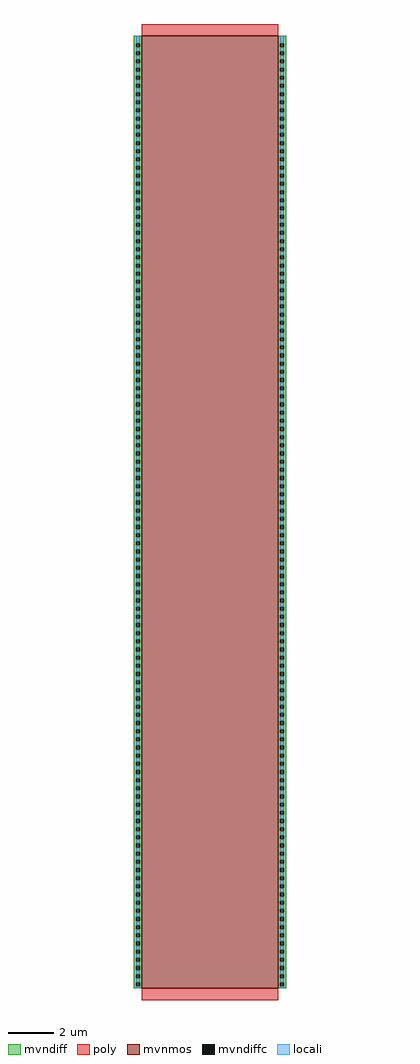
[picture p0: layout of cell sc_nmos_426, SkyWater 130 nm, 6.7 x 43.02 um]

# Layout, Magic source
magic
tech sky130A
<< mvnmos >>
rect 225 601 825 4801
<< mvndiff >>
rect 190 4768 225 4801
rect 190 4750 199 4768
rect 216 4750 225 4768
rect 190 4732 225 4750
rect 190 4714 199 4732
rect 216 4714 225 4732
rect 190 4696 225 4714
rect 190 4678 199 4696
rect 216 4678 225 4696
rect 190 4660 225 4678
rect 190 4642 199 4660
rect 216 4642 225 4660
rect 190 4624 225 4642
rect 190 4606 199 4624
rect 216 4606 225 4624
rect 190 4588 225 4606
rect 190 4570 199 4588
rect 216 4570 225 4588
rect 190 4552 225 4570
rect 190 4534 199 4552
rect 216 4534 225 4552
rect 190 4516 225 4534
rect 190 4498 199 4516
rect 216 4498 225 4516
rect 190 4480 225 4498
rect 190 4462 199 4480
rect 216 4462 225 4480
rect 190 4444 225 4462
rect 190 4426 199 4444
rect 216 4426 225 4444
rect 190 4408 225 4426
rect 190 4390 199 4408
rect 216 4390 225 4408
rect 190 4372 225 4390
rect 190 4354 199 4372
rect 216 4354 225 4372
rect 190 4336 225 4354
rect 190 4318 199 4336
rect 216 4318 225 4336
rect 190 4300 225 4318
rect 190 4282 199 4300
rect 216 4282 225 4300
rect 190 4264 225 4282
rect 190 4246 199 4264
rect 216 4246 225 4264
rect 190 4228 225 4246
rect 190 4210 199 4228
rect 216 4210 225 4228
rect 190 4192 225 4210
rect 190 4174 199 4192
rect 216 4174 225 4192
rect 190 4156 225 4174
rect 190 4138 199 4156
rect 216 4138 225 4156
rect 190 4120 225 4138
rect 190 4102 199 4120
rect 216 4102 225 4120
rect 190 4084 225 4102
rect 190 4066 199 4084
rect 216 4066 225 4084
rect 190 4048 225 4066
rect 190 4030 199 4048
rect 216 4030 225 4048
rect 190 4012 225 4030
rect 190 3994 199 4012
rect 216 3994 225 4012
rect 190 3976 225 3994
rect 190 3958 199 3976
rect 216 3958 225 3976
rect 190 3940 225 3958
rect 190 3922 199 3940
rect 216 3922 225 3940
rect 190 3904 225 3922
rect 190 3886 199 3904
rect 216 3886 225 3904
rect 190 3868 225 3886
rect 190 3850 199 3868
rect 216 3850 225 3868
rect 190 3832 225 3850
rect 190 3814 199 3832
rect 216 3814 225 3832
rect 190 3796 225 3814
rect 190 3778 199 3796
rect 216 3778 225 3796
rect 190 3760 225 3778
rect 190 3742 199 3760
rect 216 3742 225 3760
rect 190 3724 225 3742
rect 190 3706 199 3724
rect 216 3706 225 3724
rect 190 3688 225 3706
rect 190 3670 199 3688
rect 216 3670 225 3688
rect 190 3652 225 3670
rect 190 3634 199 3652
rect 216 3634 225 3652
rect 190 3616 225 3634
rect 190 3598 199 3616
rect 216 3598 225 3616
rect 190 3580 225 3598
rect 190 3562 199 3580
rect 216 3562 225 3580
rect 190 3544 225 3562
rect 190 3526 199 3544
rect 216 3526 225 3544
rect 190 3508 225 3526
rect 190 3490 199 3508
rect 216 3490 225 3508
rect 190 3472 225 3490
rect 190 3454 199 3472
rect 216 3454 225 3472
rect 190 3436 225 3454
rect 190 3418 199 3436
rect 216 3418 225 3436
rect 190 3400 225 3418
rect 190 3382 199 3400
rect 216 3382 225 3400
rect 190 3364 225 3382
rect 190 3346 199 3364
rect 216 3346 225 3364
rect 190 3328 225 3346
rect 190 3310 199 3328
rect 216 3310 225 3328
rect 190 3292 225 3310
rect 190 3274 199 3292
rect 216 3274 225 3292
rect 190 3256 225 3274
rect 190 3238 199 3256
rect 216 3238 225 3256
rect 190 3220 225 3238
rect 190 3202 199 3220
rect 216 3202 225 3220
rect 190 3184 225 3202
rect 190 3166 199 3184
rect 216 3166 225 3184
rect 190 3148 225 3166
rect 190 3130 199 3148
rect 216 3130 225 3148
rect 190 3112 225 3130
rect 190 3094 199 3112
rect 216 3094 225 3112
rect 190 3076 225 3094
rect 190 3058 199 3076
rect 216 3058 225 3076
rect 190 3040 225 3058
rect 190 3022 199 3040
rect 216 3022 225 3040
rect 190 3004 225 3022
rect 190 2986 199 3004
rect 216 2986 225 3004
rect 190 2968 225 2986
rect 190 2950 199 2968
rect 216 2950 225 2968
rect 190 2932 225 2950
rect 190 2914 199 2932
rect 216 2914 225 2932
rect 190 2896 225 2914
rect 190 2878 199 2896
rect 216 2878 225 2896
rect 190 2860 225 2878
rect 190 2842 199 2860
rect 216 2842 225 2860
rect 190 2824 225 2842
rect 190 2806 199 2824
rect 216 2806 225 2824
rect 190 2788 225 2806
rect 190 2770 199 2788
rect 216 2770 225 2788
rect 190 2752 225 2770
rect 190 2734 199 2752
rect 216 2734 225 2752
rect 190 2716 225 2734
rect 190 2698 199 2716
rect 216 2698 225 2716
rect 190 2680 225 2698
rect 190 2662 199 2680
rect 216 2662 225 2680
rect 190 2644 225 2662
rect 190 2626 199 2644
rect 216 2626 225 2644
rect 190 2608 225 2626
rect 190 2590 199 2608
rect 216 2590 225 2608
rect 190 2572 225 2590
rect 190 2554 199 2572
rect 216 2554 225 2572
rect 190 2536 225 2554
rect 190 2518 199 2536
rect 216 2518 225 2536
rect 190 2500 225 2518
rect 190 2482 199 2500
rect 216 2482 225 2500
rect 190 2464 225 2482
rect 190 2446 199 2464
rect 216 2446 225 2464
rect 190 2428 225 2446
rect 190 2410 199 2428
rect 216 2410 225 2428
rect 190 2392 225 2410
rect 190 2374 199 2392
rect 216 2374 225 2392
rect 190 2356 225 2374
rect 190 2338 199 2356
rect 216 2338 225 2356
rect 190 2320 225 2338
rect 190 2302 199 2320
rect 216 2302 225 2320
rect 190 2284 225 2302
rect 190 2266 199 2284
rect 216 2266 225 2284
rect 190 2248 225 2266
rect 190 2230 199 2248
rect 216 2230 225 2248
rect 190 2212 225 2230
rect 190 2194 199 2212
rect 216 2194 225 2212
rect 190 2176 225 2194
rect 190 2158 199 2176
rect 216 2158 225 2176
rect 190 2140 225 2158
rect 190 2122 199 2140
rect 216 2122 225 2140
rect 190 2104 225 2122
rect 190 2086 199 2104
rect 216 2086 225 2104
rect 190 2068 225 2086
rect 190 2050 199 2068
rect 216 2050 225 2068
rect 190 2032 225 2050
rect 190 2014 199 2032
rect 216 2014 225 2032
rect 190 1996 225 2014
rect 190 1978 199 1996
rect 216 1978 225 1996
rect 190 1960 225 1978
rect 190 1942 199 1960
rect 216 1942 225 1960
rect 190 1924 225 1942
rect 190 1906 199 1924
rect 216 1906 225 1924
rect 190 1888 225 1906
rect 190 1870 199 1888
rect 216 1870 225 1888
rect 190 1852 225 1870
rect 190 1834 199 1852
rect 216 1834 225 1852
rect 190 1816 225 1834
rect 190 1798 199 1816
rect 216 1798 225 1816
rect 190 1780 225 1798
rect 190 1762 199 1780
rect 216 1762 225 1780
rect 190 1744 225 1762
rect 190 1726 199 1744
rect 216 1726 225 1744
rect 190 1708 225 1726
rect 190 1690 199 1708
rect 216 1690 225 1708
rect 190 1672 225 1690
rect 190 1654 199 1672
rect 216 1654 225 1672
rect 190 1636 225 1654
rect 190 1618 199 1636
rect 216 1618 225 1636
rect 190 1600 225 1618
rect 190 1582 199 1600
rect 216 1582 225 1600
rect 190 1564 225 1582
rect 190 1546 199 1564
rect 216 1546 225 1564
rect 190 1528 225 1546
rect 190 1510 199 1528
rect 216 1510 225 1528
rect 190 1492 225 1510
rect 190 1474 199 1492
rect 216 1474 225 1492
rect 190 1456 225 1474
rect 190 1438 199 1456
rect 216 1438 225 1456
rect 190 1420 225 1438
rect 190 1402 199 1420
rect 216 1402 225 1420
rect 190 1384 225 1402
rect 190 1366 199 1384
rect 216 1366 225 1384
rect 190 1348 225 1366
rect 190 1330 199 1348
rect 216 1330 225 1348
rect 190 1312 225 1330
rect 190 1294 199 1312
rect 216 1294 225 1312
rect 190 1276 225 1294
rect 190 1258 199 1276
rect 216 1258 225 1276
rect 190 1240 225 1258
rect 190 1222 199 1240
rect 216 1222 225 1240
rect 190 1204 225 1222
rect 190 1186 199 1204
rect 216 1186 225 1204
rect 190 1168 225 1186
rect 190 1150 199 1168
rect 216 1150 225 1168
rect 190 1132 225 1150
rect 190 1114 199 1132
rect 216 1114 225 1132
rect 190 1096 225 1114
rect 190 1078 199 1096
rect 216 1078 225 1096
rect 190 1060 225 1078
rect 190 1042 199 1060
rect 216 1042 225 1060
rect 190 1024 225 1042
rect 190 1006 199 1024
rect 216 1006 225 1024
rect 190 988 225 1006
rect 190 970 199 988
rect 216 970 225 988
rect 190 952 225 970
rect 190 934 199 952
rect 216 934 225 952
rect 190 916 225 934
rect 190 898 199 916
rect 216 898 225 916
rect 190 880 225 898
rect 190 862 199 880
rect 216 862 225 880
rect 190 844 225 862
rect 190 826 199 844
rect 216 826 225 844
rect 190 808 225 826
rect 190 790 199 808
rect 216 790 225 808
rect 190 772 225 790
rect 190 754 199 772
rect 216 754 225 772
rect 190 736 225 754
rect 190 718 199 736
rect 216 718 225 736
rect 190 700 225 718
rect 190 682 199 700
rect 216 682 225 700
rect 190 664 225 682
rect 190 646 199 664
rect 216 646 225 664
rect 190 628 225 646
rect 190 610 199 628
rect 216 610 225 628
rect 190 601 225 610
rect 825 4768 860 4801
rect 825 4750 834 4768
rect 851 4750 860 4768
rect 825 4732 860 4750
rect 825 4714 834 4732
rect 851 4714 860 4732
rect 825 4696 860 4714
rect 825 4678 834 4696
rect 851 4678 860 4696
rect 825 4660 860 4678
rect 825 4642 834 4660
rect 851 4642 860 4660
rect 825 4624 860 4642
rect 825 4606 834 4624
rect 851 4606 860 4624
rect 825 4588 860 4606
rect 825 4570 834 4588
rect 851 4570 860 4588
rect 825 4552 860 4570
rect 825 4534 834 4552
rect 851 4534 860 4552
rect 825 4516 860 4534
rect 825 4498 834 4516
rect 851 4498 860 4516
rect 825 4480 860 4498
rect 825 4462 834 4480
rect 851 4462 860 4480
rect 825 4444 860 4462
rect 825 4426 834 4444
rect 851 4426 860 4444
rect 825 4408 860 4426
rect 825 4390 834 4408
rect 851 4390 860 4408
rect 825 4372 860 4390
rect 825 4354 834 4372
rect 851 4354 860 4372
rect 825 4336 860 4354
rect 825 4318 834 4336
rect 851 4318 860 4336
rect 825 4300 860 4318
rect 825 4282 834 4300
rect 851 4282 860 4300
rect 825 4264 860 4282
rect 825 4246 834 4264
rect 851 4246 860 4264
rect 825 4228 860 4246
rect 825 4210 834 4228
rect 851 4210 860 4228
rect 825 4192 860 4210
rect 825 4174 834 4192
rect 851 4174 860 4192
rect 825 4156 860 4174
rect 825 4138 834 4156
rect 851 4138 860 4156
rect 825 4120 860 4138
rect 825 4102 834 4120
rect 851 4102 860 4120
rect 825 4084 860 4102
rect 825 4066 834 4084
rect 851 4066 860 4084
rect 825 4048 860 4066
rect 825 4030 834 4048
rect 851 4030 860 4048
rect 825 4012 860 4030
rect 825 3994 834 4012
rect 851 3994 860 4012
rect 825 3976 860 3994
rect 825 3958 834 3976
rect 851 3958 860 3976
rect 825 3940 860 3958
rect 825 3922 834 3940
rect 851 3922 860 3940
rect 825 3904 860 3922
rect 825 3886 834 3904
rect 851 3886 860 3904
rect 825 3868 860 3886
rect 825 3850 834 3868
rect 851 3850 860 3868
rect 825 3832 860 3850
rect 825 3814 834 3832
rect 851 3814 860 3832
rect 825 3796 860 3814
rect 825 3778 834 3796
rect 851 3778 860 3796
rect 825 3760 860 3778
rect 825 3742 834 3760
rect 851 3742 860 3760
rect 825 3724 860 3742
rect 825 3706 834 3724
rect 851 3706 860 3724
rect 825 3688 860 3706
rect 825 3670 834 3688
rect 851 3670 860 3688
rect 825 3652 860 3670
rect 825 3634 834 3652
rect 851 3634 860 3652
rect 825 3616 860 3634
rect 825 3598 834 3616
rect 851 3598 860 3616
rect 825 3580 860 3598
rect 825 3562 834 3580
rect 851 3562 860 3580
rect 825 3544 860 3562
rect 825 3526 834 3544
rect 851 3526 860 3544
rect 825 3508 860 3526
rect 825 3490 834 3508
rect 851 3490 860 3508
rect 825 3472 860 3490
rect 825 3454 834 3472
rect 851 3454 860 3472
rect 825 3436 860 3454
rect 825 3418 834 3436
rect 851 3418 860 3436
rect 825 3400 860 3418
rect 825 3382 834 3400
rect 851 3382 860 3400
rect 825 3364 860 3382
rect 825 3346 834 3364
rect 851 3346 860 3364
rect 825 3328 860 3346
rect 825 3310 834 3328
rect 851 3310 860 3328
rect 825 3292 860 3310
rect 825 3274 834 3292
rect 851 3274 860 3292
rect 825 3256 860 3274
rect 825 3238 834 3256
rect 851 3238 860 3256
rect 825 3220 860 3238
rect 825 3202 834 3220
rect 851 3202 860 3220
rect 825 3184 860 3202
rect 825 3166 834 3184
rect 851 3166 860 3184
rect 825 3148 860 3166
rect 825 3130 834 3148
rect 851 3130 860 3148
rect 825 3112 860 3130
rect 825 3094 834 3112
rect 851 3094 860 3112
rect 825 3076 860 3094
rect 825 3058 834 3076
rect 851 3058 860 3076
rect 825 3040 860 3058
rect 825 3022 834 3040
rect 851 3022 860 3040
rect 825 3004 860 3022
rect 825 2986 834 3004
rect 851 2986 860 3004
rect 825 2968 860 2986
rect 825 2950 834 2968
rect 851 2950 860 2968
rect 825 2932 860 2950
rect 825 2914 834 2932
rect 851 2914 860 2932
rect 825 2896 860 2914
rect 825 2878 834 2896
rect 851 2878 860 2896
rect 825 2860 860 2878
rect 825 2842 834 2860
rect 851 2842 860 2860
rect 825 2824 860 2842
rect 825 2806 834 2824
rect 851 2806 860 2824
rect 825 2788 860 2806
rect 825 2770 834 2788
rect 851 2770 860 2788
rect 825 2752 860 2770
rect 825 2734 834 2752
rect 851 2734 860 2752
rect 825 2716 860 2734
rect 825 2698 834 2716
rect 851 2698 860 2716
rect 825 2680 860 2698
rect 825 2662 834 2680
rect 851 2662 860 2680
rect 825 2644 860 2662
rect 825 2626 834 2644
rect 851 2626 860 2644
rect 825 2608 860 2626
rect 825 2590 834 2608
rect 851 2590 860 2608
rect 825 2572 860 2590
rect 825 2554 834 2572
rect 851 2554 860 2572
rect 825 2536 860 2554
rect 825 2518 834 2536
rect 851 2518 860 2536
rect 825 2500 860 2518
rect 825 2482 834 2500
rect 851 2482 860 2500
rect 825 2464 860 2482
rect 825 2446 834 2464
rect 851 2446 860 2464
rect 825 2428 860 2446
rect 825 2410 834 2428
rect 851 2410 860 2428
rect 825 2392 860 2410
rect 825 2374 834 2392
rect 851 2374 860 2392
rect 825 2356 860 2374
rect 825 2338 834 2356
rect 851 2338 860 2356
rect 825 2320 860 2338
rect 825 2302 834 2320
rect 851 2302 860 2320
rect 825 2284 860 2302
rect 825 2266 834 2284
rect 851 2266 860 2284
rect 825 2248 860 2266
rect 825 2230 834 2248
rect 851 2230 860 2248
rect 825 2212 860 2230
rect 825 2194 834 2212
rect 851 2194 860 2212
rect 825 2176 860 2194
rect 825 2158 834 2176
rect 851 2158 860 2176
rect 825 2140 860 2158
rect 825 2122 834 2140
rect 851 2122 860 2140
rect 825 2104 860 2122
rect 825 2086 834 2104
rect 851 2086 860 2104
rect 825 2068 860 2086
rect 825 2050 834 2068
rect 851 2050 860 2068
rect 825 2032 860 2050
rect 825 2014 834 2032
rect 851 2014 860 2032
rect 825 1996 860 2014
rect 825 1978 834 1996
rect 851 1978 860 1996
rect 825 1960 860 1978
rect 825 1942 834 1960
rect 851 1942 860 1960
rect 825 1924 860 1942
rect 825 1906 834 1924
rect 851 1906 860 1924
rect 825 1888 860 1906
rect 825 1870 834 1888
rect 851 1870 860 1888
rect 825 1852 860 1870
rect 825 1834 834 1852
rect 851 1834 860 1852
rect 825 1816 860 1834
rect 825 1798 834 1816
rect 851 1798 860 1816
rect 825 1780 860 1798
rect 825 1762 834 1780
rect 851 1762 860 1780
rect 825 1744 860 1762
rect 825 1726 834 1744
rect 851 1726 860 1744
rect 825 1708 860 1726
rect 825 1690 834 1708
rect 851 1690 860 1708
rect 825 1672 860 1690
rect 825 1654 834 1672
rect 851 1654 860 1672
rect 825 1636 860 1654
rect 825 1618 834 1636
rect 851 1618 860 1636
rect 825 1600 860 1618
rect 825 1582 834 1600
rect 851 1582 860 1600
rect 825 1564 860 1582
rect 825 1546 834 1564
rect 851 1546 860 1564
rect 825 1528 860 1546
rect 825 1510 834 1528
rect 851 1510 860 1528
rect 825 1492 860 1510
rect 825 1474 834 1492
rect 851 1474 860 1492
rect 825 1456 860 1474
rect 825 1438 834 1456
rect 851 1438 860 1456
rect 825 1420 860 1438
rect 825 1402 834 1420
rect 851 1402 860 1420
rect 825 1384 860 1402
rect 825 1366 834 1384
rect 851 1366 860 1384
rect 825 1348 860 1366
rect 825 1330 834 1348
rect 851 1330 860 1348
rect 825 1312 860 1330
rect 825 1294 834 1312
rect 851 1294 860 1312
rect 825 1276 860 1294
rect 825 1258 834 1276
rect 851 1258 860 1276
rect 825 1240 860 1258
rect 825 1222 834 1240
rect 851 1222 860 1240
rect 825 1204 860 1222
rect 825 1186 834 1204
rect 851 1186 860 1204
rect 825 1168 860 1186
rect 825 1150 834 1168
rect 851 1150 860 1168
rect 825 1132 860 1150
rect 825 1114 834 1132
rect 851 1114 860 1132
rect 825 1096 860 1114
rect 825 1078 834 1096
rect 851 1078 860 1096
rect 825 1060 860 1078
rect 825 1042 834 1060
rect 851 1042 860 1060
rect 825 1024 860 1042
rect 825 1006 834 1024
rect 851 1006 860 1024
rect 825 988 860 1006
rect 825 970 834 988
rect 851 970 860 988
rect 825 952 860 970
rect 825 934 834 952
rect 851 934 860 952
rect 825 916 860 934
rect 825 898 834 916
rect 851 898 860 916
rect 825 880 860 898
rect 825 862 834 880
rect 851 862 860 880
rect 825 844 860 862
rect 825 826 834 844
rect 851 826 860 844
rect 825 808 860 826
rect 825 790 834 808
rect 851 790 860 808
rect 825 772 860 790
rect 825 754 834 772
rect 851 754 860 772
rect 825 736 860 754
rect 825 718 834 736
rect 851 718 860 736
rect 825 700 860 718
rect 825 682 834 700
rect 851 682 860 700
rect 825 664 860 682
rect 825 646 834 664
rect 851 646 860 664
rect 825 628 860 646
rect 825 610 834 628
rect 851 610 860 628
rect 825 601 860 610
<< mvndiffc >>
rect 199 4750 216 4768
rect 199 4714 216 4732
rect 199 4678 216 4696
rect 199 4642 216 4660
rect 199 4606 216 4624
rect 199 4570 216 4588
rect 199 4534 216 4552
rect 199 4498 216 4516
rect 199 4462 216 4480
rect 199 4426 216 4444
rect 199 4390 216 4408
rect 199 4354 216 4372
rect 199 4318 216 4336
rect 199 4282 216 4300
rect 199 4246 216 4264
rect 199 4210 216 4228
rect 199 4174 216 4192
rect 199 4138 216 4156
rect 199 4102 216 4120
rect 199 4066 216 4084
rect 199 4030 216 4048
rect 199 3994 216 4012
rect 199 3958 216 3976
rect 199 3922 216 3940
rect 199 3886 216 3904
rect 199 3850 216 3868
rect 199 3814 216 3832
rect 199 3778 216 3796
rect 199 3742 216 3760
rect 199 3706 216 3724
rect 199 3670 216 3688
rect 199 3634 216 3652
rect 199 3598 216 3616
rect 199 3562 216 3580
rect 199 3526 216 3544
rect 199 3490 216 3508
rect 199 3454 216 3472
rect 199 3418 216 3436
rect 199 3382 216 3400
rect 199 3346 216 3364
rect 199 3310 216 3328
rect 199 3274 216 3292
rect 199 3238 216 3256
rect 199 3202 216 3220
rect 199 3166 216 3184
rect 199 3130 216 3148
rect 199 3094 216 3112
rect 199 3058 216 3076
rect 199 3022 216 3040
rect 199 2986 216 3004
rect 199 2950 216 2968
rect 199 2914 216 2932
rect 199 2878 216 2896
rect 199 2842 216 2860
rect 199 2806 216 2824
rect 199 2770 216 2788
rect 199 2734 216 2752
rect 199 2698 216 2716
rect 199 2662 216 2680
rect 199 2626 216 2644
rect 199 2590 216 2608
rect 199 2554 216 2572
rect 199 2518 216 2536
rect 199 2482 216 2500
rect 199 2446 216 2464
rect 199 2410 216 2428
rect 199 2374 216 2392
rect 199 2338 216 2356
rect 199 2302 216 2320
rect 199 2266 216 2284
rect 199 2230 216 2248
rect 199 2194 216 2212
rect 199 2158 216 2176
rect 199 2122 216 2140
rect 199 2086 216 2104
rect 199 2050 216 2068
rect 199 2014 216 2032
rect 199 1978 216 1996
rect 199 1942 216 1960
rect 199 1906 216 1924
rect 199 1870 216 1888
rect 199 1834 216 1852
rect 199 1798 216 1816
rect 199 1762 216 1780
rect 199 1726 216 1744
rect 199 1690 216 1708
rect 199 1654 216 1672
rect 199 1618 216 1636
rect 199 1582 216 1600
rect 199 1546 216 1564
rect 199 1510 216 1528
rect 199 1474 216 1492
rect 199 1438 216 1456
rect 199 1402 216 1420
rect 199 1366 216 1384
rect 199 1330 216 1348
rect 199 1294 216 1312
rect 199 1258 216 1276
rect 199 1222 216 1240
rect 199 1186 216 1204
rect 199 1150 216 1168
rect 199 1114 216 1132
rect 199 1078 216 1096
rect 199 1042 216 1060
rect 199 1006 216 1024
rect 199 970 216 988
rect 199 934 216 952
rect 199 898 216 916
rect 199 862 216 880
rect 199 826 216 844
rect 199 790 216 808
rect 199 754 216 772
rect 199 718 216 736
rect 199 682 216 700
rect 199 646 216 664
rect 199 610 216 628
rect 834 4750 851 4768
rect 834 4714 851 4732
rect 834 4678 851 4696
rect 834 4642 851 4660
rect 834 4606 851 4624
rect 834 4570 851 4588
rect 834 4534 851 4552
rect 834 4498 851 4516
rect 834 4462 851 4480
rect 834 4426 851 4444
rect 834 4390 851 4408
rect 834 4354 851 4372
rect 834 4318 851 4336
rect 834 4282 851 4300
rect 834 4246 851 4264
rect 834 4210 851 4228
rect 834 4174 851 4192
rect 834 4138 851 4156
rect 834 4102 851 4120
rect 834 4066 851 4084
rect 834 4030 851 4048
rect 834 3994 851 4012
rect 834 3958 851 3976
rect 834 3922 851 3940
rect 834 3886 851 3904
rect 834 3850 851 3868
rect 834 3814 851 3832
rect 834 3778 851 3796
rect 834 3742 851 3760
rect 834 3706 851 3724
rect 834 3670 851 3688
rect 834 3634 851 3652
rect 834 3598 851 3616
rect 834 3562 851 3580
rect 834 3526 851 3544
rect 834 3490 851 3508
rect 834 3454 851 3472
rect 834 3418 851 3436
rect 834 3382 851 3400
rect 834 3346 851 3364
rect 834 3310 851 3328
rect 834 3274 851 3292
rect 834 3238 851 3256
rect 834 3202 851 3220
rect 834 3166 851 3184
rect 834 3130 851 3148
rect 834 3094 851 3112
rect 834 3058 851 3076
rect 834 3022 851 3040
rect 834 2986 851 3004
rect 834 2950 851 2968
rect 834 2914 851 2932
rect 834 2878 851 2896
rect 834 2842 851 2860
rect 834 2806 851 2824
rect 834 2770 851 2788
rect 834 2734 851 2752
rect 834 2698 851 2716
rect 834 2662 851 2680
rect 834 2626 851 2644
rect 834 2590 851 2608
rect 834 2554 851 2572
rect 834 2518 851 2536
rect 834 2482 851 2500
rect 834 2446 851 2464
rect 834 2410 851 2428
rect 834 2374 851 2392
rect 834 2338 851 2356
rect 834 2302 851 2320
rect 834 2266 851 2284
rect 834 2230 851 2248
rect 834 2194 851 2212
rect 834 2158 851 2176
rect 834 2122 851 2140
rect 834 2086 851 2104
rect 834 2050 851 2068
rect 834 2014 851 2032
rect 834 1978 851 1996
rect 834 1942 851 1960
rect 834 1906 851 1924
rect 834 1870 851 1888
rect 834 1834 851 1852
rect 834 1798 851 1816
rect 834 1762 851 1780
rect 834 1726 851 1744
rect 834 1690 851 1708
rect 834 1654 851 1672
rect 834 1618 851 1636
rect 834 1582 851 1600
rect 834 1546 851 1564
rect 834 1510 851 1528
rect 834 1474 851 1492
rect 834 1438 851 1456
rect 834 1402 851 1420
rect 834 1366 851 1384
rect 834 1330 851 1348
rect 834 1294 851 1312
rect 834 1258 851 1276
rect 834 1222 851 1240
rect 834 1186 851 1204
rect 834 1150 851 1168
rect 834 1114 851 1132
rect 834 1078 851 1096
rect 834 1042 851 1060
rect 834 1006 851 1024
rect 834 970 851 988
rect 834 934 851 952
rect 834 898 851 916
rect 834 862 851 880
rect 834 826 851 844
rect 834 790 851 808
rect 834 754 851 772
rect 834 718 851 736
rect 834 682 851 700
rect 834 646 851 664
rect 834 610 851 628
<< poly >>
rect 225 4801 825 4852
rect 225 550 825 601
<< locali >>
rect 199 4768 216 4801
rect 199 4732 216 4750
rect 199 4696 216 4714
rect 199 4660 216 4678
rect 199 4624 216 4642
rect 199 4588 216 4606
rect 199 4552 216 4570
rect 199 4516 216 4534
rect 199 4480 216 4498
rect 199 4444 216 4462
rect 199 4408 216 4426
rect 199 4372 216 4390
rect 199 4336 216 4354
rect 199 4300 216 4318
rect 199 4264 216 4282
rect 199 4228 216 4246
rect 199 4192 216 4210
rect 199 4156 216 4174
rect 199 4120 216 4138
rect 199 4084 216 4102
rect 199 4048 216 4066
rect 199 4012 216 4030
rect 199 3976 216 3994
rect 199 3940 216 3958
rect 199 3904 216 3922
rect 199 3868 216 3886
rect 199 3832 216 3850
rect 199 3796 216 3814
rect 199 3760 216 3778
rect 199 3724 216 3742
rect 199 3688 216 3706
rect 199 3652 216 3670
rect 199 3616 216 3634
rect 199 3580 216 3598
rect 199 3544 216 3562
rect 199 3508 216 3526
rect 199 3472 216 3490
rect 199 3436 216 3454
rect 199 3400 216 3418
rect 199 3364 216 3382
rect 199 3328 216 3346
rect 199 3292 216 3310
rect 199 3256 216 3274
rect 199 3220 216 3238
rect 199 3184 216 3202
rect 199 3148 216 3166
rect 199 3112 216 3130
rect 199 3076 216 3094
rect 199 3040 216 3058
rect 199 3004 216 3022
rect 199 2968 216 2986
rect 199 2932 216 2950
rect 199 2896 216 2914
rect 199 2860 216 2878
rect 199 2824 216 2842
rect 199 2788 216 2806
rect 199 2752 216 2770
rect 199 2716 216 2734
rect 199 2680 216 2698
rect 199 2644 216 2662
rect 199 2608 216 2626
rect 199 2572 216 2590
rect 199 2536 216 2554
rect 199 2500 216 2518
rect 199 2464 216 2482
rect 199 2428 216 2446
rect 199 2392 216 2410
rect 199 2356 216 2374
rect 199 2320 216 2338
rect 199 2284 216 2302
rect 199 2248 216 2266
rect 199 2212 216 2230
rect 199 2176 216 2194
rect 199 2140 216 2158
rect 199 2104 216 2122
rect 199 2068 216 2086
rect 199 2032 216 2050
rect 199 1996 216 2014
rect 199 1960 216 1978
rect 199 1924 216 1942
rect 199 1888 216 1906
rect 199 1852 216 1870
rect 199 1816 216 1834
rect 199 1780 216 1798
rect 199 1744 216 1762
rect 199 1708 216 1726
rect 199 1672 216 1690
rect 199 1636 216 1654
rect 199 1600 216 1618
rect 199 1564 216 1582
rect 199 1528 216 1546
rect 199 1492 216 1510
rect 199 1456 216 1474
rect 199 1420 216 1438
rect 199 1384 216 1402
rect 199 1348 216 1366
rect 199 1312 216 1330
rect 199 1276 216 1294
rect 199 1240 216 1258
rect 199 1204 216 1222
rect 199 1168 216 1186
rect 199 1132 216 1150
rect 199 1096 216 1114
rect 199 1060 216 1078
rect 199 1024 216 1042
rect 199 988 216 1006
rect 199 952 216 970
rect 199 916 216 934
rect 199 880 216 898
rect 199 844 216 862
rect 199 808 216 826
rect 199 772 216 790
rect 199 736 216 754
rect 199 700 216 718
rect 199 664 216 682
rect 199 628 216 646
rect 199 601 216 610
rect 834 4768 851 4801
rect 834 4732 851 4750
rect 834 4696 851 4714
rect 834 4660 851 4678
rect 834 4624 851 4642
rect 834 4588 851 4606
rect 834 4552 851 4570
rect 834 4516 851 4534
rect 834 4480 851 4498
rect 834 4444 851 4462
rect 834 4408 851 4426
rect 834 4372 851 4390
rect 834 4336 851 4354
rect 834 4300 851 4318
rect 834 4264 851 4282
rect 834 4228 851 4246
rect 834 4192 851 4210
rect 834 4156 851 4174
rect 834 4120 851 4138
rect 834 4084 851 4102
rect 834 4048 851 4066
rect 834 4012 851 4030
rect 834 3976 851 3994
rect 834 3940 851 3958
rect 834 3904 851 3922
rect 834 3868 851 3886
rect 834 3832 851 3850
rect 834 3796 851 3814
rect 834 3760 851 3778
rect 834 3724 851 3742
rect 834 3688 851 3706
rect 834 3652 851 3670
rect 834 3616 851 3634
rect 834 3580 851 3598
rect 834 3544 851 3562
rect 834 3508 851 3526
rect 834 3472 851 3490
rect 834 3436 851 3454
rect 834 3400 851 3418
rect 834 3364 851 3382
rect 834 3328 851 3346
rect 834 3292 851 3310
rect 834 3256 851 3274
rect 834 3220 851 3238
rect 834 3184 851 3202
rect 834 3148 851 3166
rect 834 3112 851 3130
rect 834 3076 851 3094
rect 834 3040 851 3058
rect 834 3004 851 3022
rect 834 2968 851 2986
rect 834 2932 851 2950
rect 834 2896 851 2914
rect 834 2860 851 2878
rect 834 2824 851 2842
rect 834 2788 851 2806
rect 834 2752 851 2770
rect 834 2716 851 2734
rect 834 2680 851 2698
rect 834 2644 851 2662
rect 834 2608 851 2626
rect 834 2572 851 2590
rect 834 2536 851 2554
rect 834 2500 851 2518
rect 834 2464 851 2482
rect 834 2428 851 2446
rect 834 2392 851 2410
rect 834 2356 851 2374
rect 834 2320 851 2338
rect 834 2284 851 2302
rect 834 2248 851 2266
rect 834 2212 851 2230
rect 834 2176 851 2194
rect 834 2140 851 2158
rect 834 2104 851 2122
rect 834 2068 851 2086
rect 834 2032 851 2050
rect 834 1996 851 2014
rect 834 1960 851 1978
rect 834 1924 851 1942
rect 834 1888 851 1906
rect 834 1852 851 1870
rect 834 1816 851 1834
rect 834 1780 851 1798
rect 834 1744 851 1762
rect 834 1708 851 1726
rect 834 1672 851 1690
rect 834 1636 851 1654
rect 834 1600 851 1618
rect 834 1564 851 1582
rect 834 1528 851 1546
rect 834 1492 851 1510
rect 834 1456 851 1474
rect 834 1420 851 1438
rect 834 1384 851 1402
rect 834 1348 851 1366
rect 834 1312 851 1330
rect 834 1276 851 1294
rect 834 1240 851 1258
rect 834 1204 851 1222
rect 834 1168 851 1186
rect 834 1132 851 1150
rect 834 1096 851 1114
rect 834 1060 851 1078
rect 834 1024 851 1042
rect 834 988 851 1006
rect 834 952 851 970
rect 834 916 851 934
rect 834 880 851 898
rect 834 844 851 862
rect 834 808 851 826
rect 834 772 851 790
rect 834 736 851 754
rect 834 700 851 718
rect 834 664 851 682
rect 834 628 851 646
rect 834 601 851 610
<< end >>
